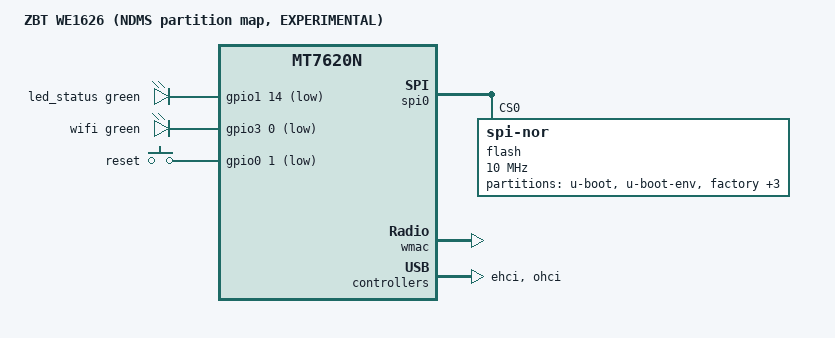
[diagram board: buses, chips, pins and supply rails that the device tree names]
// SPDX-License-Identifier: GPL-2.0-or-later
/*
 * EXPERIMENTAL: ZBT WE1626 running Keenetic Omni II NDMS
 * MT7620N IS A USER-ACCEPTED HYPOTHESIS, NOT READ FROM SILICON.
 *
 * Partition map comes directly from more proc:/mtd of this ONE device.
 * DO NOT FLASH until U-Boot first-install method and GPIO are verified.
 */
#include "mt7620n.dtsi"

#include <dt-bindings/gpio/gpio.h>
#include <dt-bindings/input/input.h>
#include <dt-bindings/leds/common.h>

/ {
	compatible = "zbtlink,zbt-we1626-ndms", "ralink,mt7620n-soc";
	model = "ZBT WE1626 (NDMS partition map, EXPERIMENTAL)";

	aliases {
		led-boot = &led_status;
		led-failsafe = &led_status;
		led-running = &led_status;
		led-upgrade = &led_status;
	};

	chosen {
		bootargs = "console=ttyS0,57600";
	};

	leds {
		compatible = "gpio-leds";

		led_status: status {
			function = LED_FUNCTION_POWER;
			color = <LED_COLOR_ID_GREEN>;
			gpios = <&gpio1 14 GPIO_ACTIVE_LOW>;
		};

		wifi {
			function = LED_FUNCTION_WLAN;
			color = <LED_COLOR_ID_GREEN>;
			gpios = <&gpio3 0 GPIO_ACTIVE_LOW>;
		};
	};

	keys {
		compatible = "gpio-keys";
		reset {
			label = "reset";
			gpios = <&gpio0 1 GPIO_ACTIVE_LOW>;
			linux,code = <KEY_RESTART>;
		};
	};
};

&gpio1 {
	status = "okay";
};
&gpio3 {
	status = "okay";
};

&spi0 {
	status = "okay";

	flash@0 {
		compatible = "jedec,spi-nor";
		reg = <0>;
		spi-max-frequency = <10000000>;

		partitions {
			compatible = "fixed-partitions";
			#address-cells = <1>;
			#size-cells = <1>;

			partition@0 {
				label = "u-boot";
				reg = <0x0 0x30000>;
				read-only;
			};

			partition@30000 {
				label = "u-boot-env";
				reg = <0x30000 0x10000>;
				read-only;
			};

			partition@40000 {
				label = "factory";
				reg = <0x40000 0x10000>;
				read-only;
				nvmem-layout {
					compatible = "fixed-layout";
					#address-cells = <1>;
					#size-cells = <1>;
					eeprom_factory_0: eeprom@0 {
						reg = <0x0 0x200>;
					};
					macaddr_factory_4: macaddr@4 {
						reg = <0x4 0x6>;
					};
				};
			};

			partition@50000 {
				compatible = "denx,uimage";
				label = "firmware";
				reg = <0x50000 0x720000>;
			};

			partition@770000 {
				label = "ndms-config";
				reg = <0x770000 0x10000>;
				read-only;
			};

			partition@780000 {
				label = "ndms-storage";
				reg = <0x780000 0x80000>;
				read-only;
			};
		};
	};
};

&ethernet {
	pinctrl-names = "default";
	pinctrl-0 = <&ephy_pins>;
	nvmem-cells = <&macaddr_factory_4>;
	nvmem-cell-names = "mac-address";

	/* Closest ZBT WR8305RT/WE2026 routing, NOT measured on this board */
	mediatek,portmap = "llllw";
};

&wmac {
	nvmem-cells = <&eeprom_factory_0>;
	nvmem-cell-names = "eeprom";
};

&ehci {
	status = "okay";
};
&ohci {
	status = "okay";
};

&state_default {
	default {
		groups = "i2c", "spi refclk", "wled";
		function = "gpio";
	};
};
